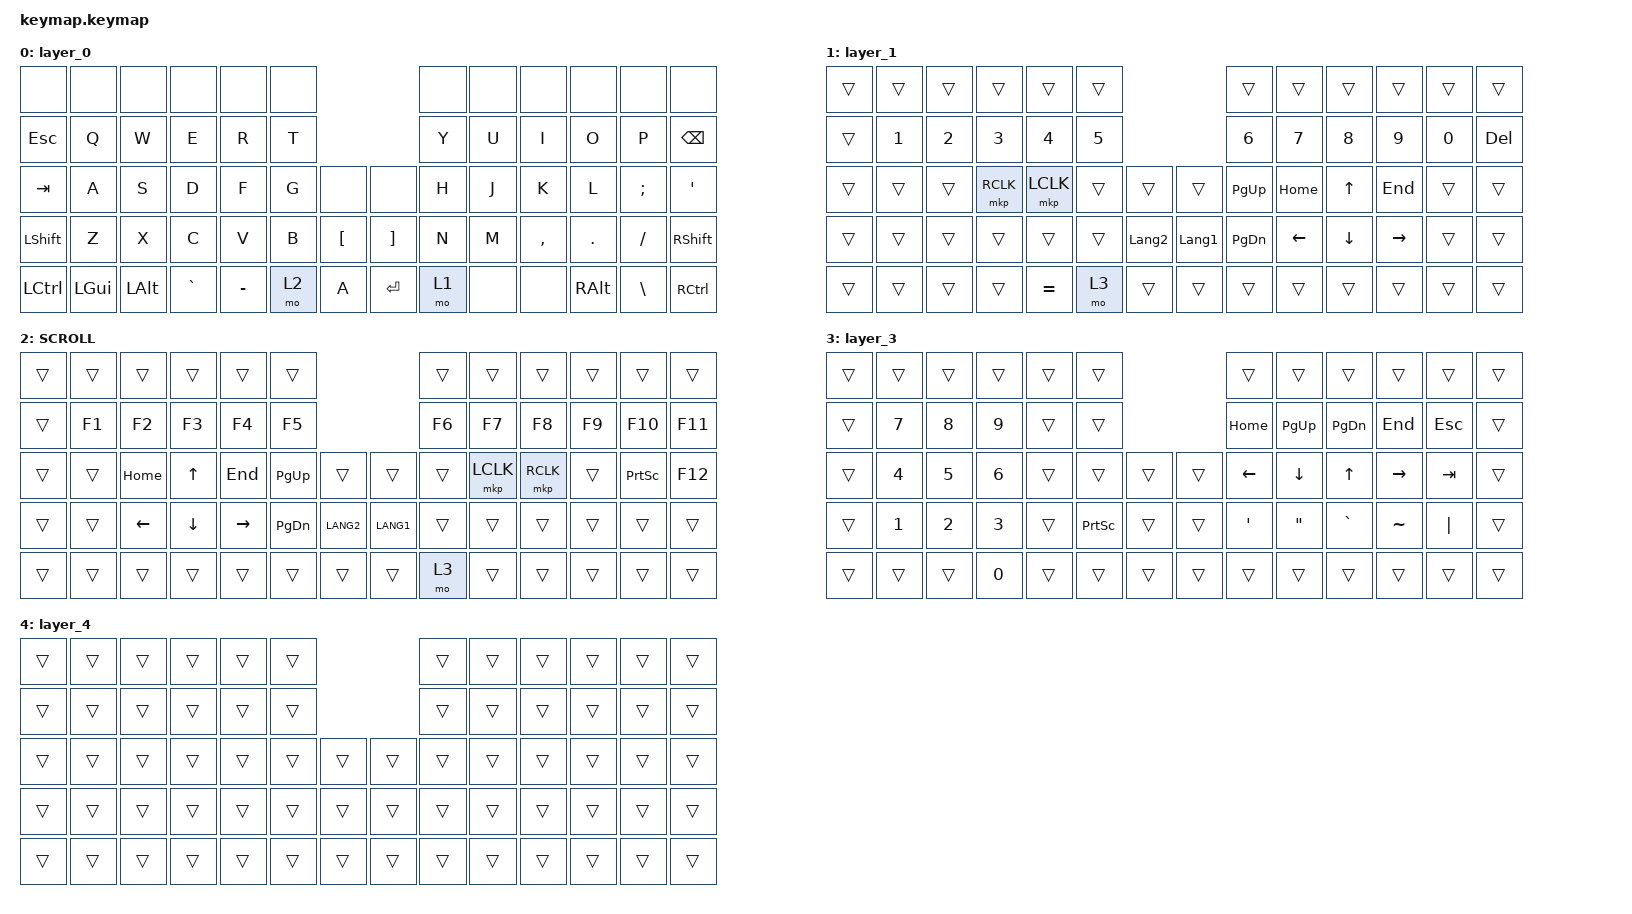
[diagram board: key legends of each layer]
#include <behaviors.dtsi>
#include <dt-bindings/zmk/bt.h>
#include <dt-bindings/zmk/keys.h>
#include <dt-bindings/zmk/pointing.h>

/ {
    combos {
        compatible = "zmk,combos";

        bt_clear {
            bindings = <&bt BT_CLR>;
            key-positions = <28 29>;
            layers = <3>;
        };
    };

    behaviors {
        st: scroll_tap {
            compatible = "zmk,behavior-hold-tap";
            label = "Scroll / Tap";
            bindings = <&mo>, <&kp>;

            #binding-cells = <2>;
            tapping-term-ms = <200>;
            flavor = "balanced";
            hold-while-undecided;
        };
    };

    keymap {
        compatible = "zmk,keymap";

        layer_0 {
            bindings = <
&none       &none     &none     &none      &none      &none                       &none  &none  &none      &none     &none     &none
&kp ESCAPE  &kp Q     &kp W     &kp E      &kp R      &kp T                       &kp Y  &kp U  &kp I      &kp O     &kp P     &kp BSPC
&kp TAB     &kp A     &kp S     &kp D      &kp F      &kp G  &none     &none      &kp H  &kp J  &kp K      &kp L     &kp SEMI  &kp SQT
&kp LSHFT   &kp Z     &kp X     &kp C      &kp V      &kp B  &kp LBKT  &kp RBKT   &kp N  &kp M  &kp COMMA  &kp DOT   &kp FSLH  &kp RSHFT
&kp LCTRL   &kp LGUI  &kp LALT  &kp GRAVE  &kp MINUS  &mo 2  &kp A     &kp ENTER  &mo 1  &none  &none      &kp RALT  &kp BSLH  &kp RCTRL
            >;
        };

        layer_1 {
            bindings = <
&trans  &trans  &trans  &trans     &trans     &trans                                  &trans     &trans          &trans        &trans           &trans  &trans
&trans  &kp N1  &kp N2  &kp N3     &kp N4     &kp N5                                  &kp N6     &kp N7          &kp N8        &kp N9           &kp N0  &kp DEL
&trans  &trans  &trans  &mkp RCLK  &mkp LCLK  &trans  &trans          &trans          &kp PG_UP  &kp HOME        &kp UP_ARROW  &kp END          &trans  &trans
&trans  &trans  &trans  &trans     &trans     &trans  &kp LANGUAGE_2  &kp LANGUAGE_1  &kp PG_DN  &kp LEFT_ARROW  &kp DOWN      &kp RIGHT_ARROW  &trans  &trans
&trans  &trans  &trans  &trans     &kp EQUAL  &mo 3   &trans          &trans          &trans     &trans          &trans        &trans           &trans  &trans
            >;
        };

        layer_2 {
            bindings = <
&trans  &trans  &trans          &trans          &trans           &trans                               &trans  &trans     &trans     &trans  &trans           &trans
&trans  &kp F1  &kp F2          &kp F3          &kp F4           &kp F5                               &kp F6  &kp F7     &kp F8     &kp F9  &kp F10          &kp F11
&trans  &trans  &kp HOME        &kp UP_ARROW    &kp END          &kp PAGE_UP    &trans     &trans     &trans  &mkp LCLK  &mkp RCLK  &trans  &kp PRINTSCREEN  &kp F12
&trans  &trans  &kp LEFT_ARROW  &kp DOWN_ARROW  &kp RIGHT_ARROW  &kp PAGE_DOWN  &kp LANG2  &kp LANG1  &trans  &trans     &trans     &trans  &trans           &trans
&trans  &trans  &trans          &trans          &trans           &trans         &trans     &trans     &mo 3   &trans     &trans     &trans  &trans           &trans
            >;

            label = "SCROLL";
        };

        layer_3 {
            bindings = <
&trans  &trans        &trans        &trans        &trans  &trans                           &trans            &trans     &trans         &trans     &trans      &trans
&trans  &kp N7        &kp N8        &kp N9        &trans  &trans                           &kp HOME          &kp PG_UP  &kp PAGE_DOWN  &kp END    &kp ESCAPE  &trans
&trans  &kp NUMBER_4  &kp N5        &kp NUMBER_6  &trans  &trans           &trans  &trans  &kp LEFT          &kp DOWN   &kp UP_ARROW   &kp RIGHT  &kp TAB     &trans
&trans  &kp NUMBER_1  &kp NUMBER_2  &kp NUMBER_3  &trans  &kp PRINTSCREEN  &trans  &trans  &kp SINGLE_QUOTE  &kp DQT    &kp GRAVE      &kp TILDE  &kp PIPE    &trans
&trans  &trans        &trans        &kp N0        &trans  &trans           &trans  &trans  &trans            &trans     &trans         &trans     &trans      &trans
            >;
        };

        layer_4 {
            bindings = <
&trans  &trans  &trans  &trans  &trans  &trans                  &trans  &trans  &trans  &trans  &trans  &trans
&trans  &trans  &trans  &trans  &trans  &trans                  &trans  &trans  &trans  &trans  &trans  &trans
&trans  &trans  &trans  &trans  &trans  &trans  &trans  &trans  &trans  &trans  &trans  &trans  &trans  &trans
&trans  &trans  &trans  &trans  &trans  &trans  &trans  &trans  &trans  &trans  &trans  &trans  &trans  &trans
&trans  &trans  &trans  &trans  &trans  &trans  &trans  &trans  &trans  &trans  &trans  &trans  &trans  &trans
            >;
        };
    };
};
